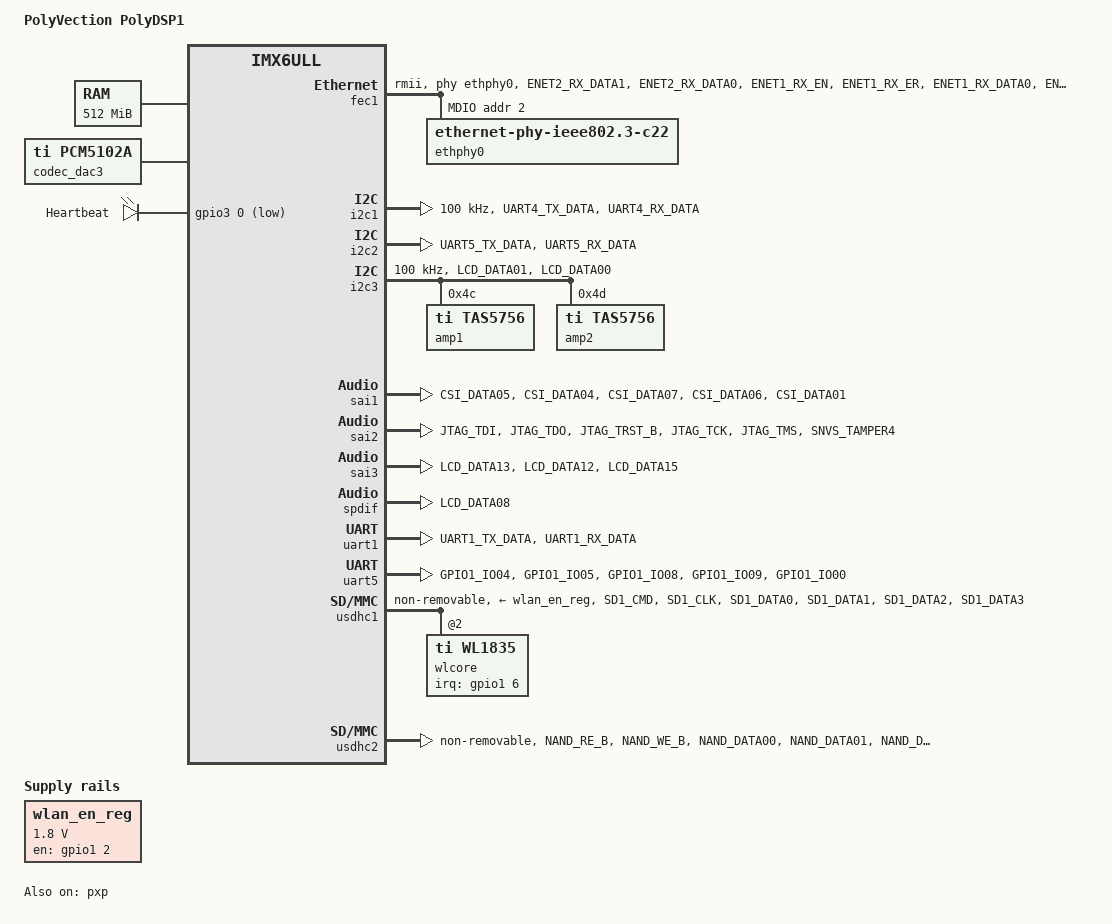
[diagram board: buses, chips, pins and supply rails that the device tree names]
/*
 * Copyright (C) 2016 Freescale Semiconductor, Inc.
 *
 * This program is free software; you can redistribute it and/or modify
 * it under the terms of the GNU General Public License version 2 as
 * published by the Free Software Foundation.
 */

/dts-v1/;

#include <dt-bindings/input/input.h>
#include "imx6ull.dtsi"

/ {
	model = "PolyVection PolyDSP1";
	compatible = "polyvection,polydsp1", "fsl,imx6ull";

	chosen {
		stdout-path = &uart1;
	};

	memory {
		reg = <0x80000000 0x20000000>;
	};

	reserved-memory {
		#address-cells = <1>;
		#size-cells = <1>;
		ranges;

		linux,cma {
			compatible = "shared-dma-pool";
			reusable;
			size = <0x14000000>;
			linux,cma-default;
		};
	};

	regulators {
		compatible = "simple-bus";
		#address-cells = <1>;
		#size-cells = <0>;

		wlan_en_reg: fixedregulator@2 {
			compatible = "regulator-fixed";
			regulator-name = "wlan-en-regulator";	
			regulator-min-microvolt = <1800000>;
			regulator-max-microvolt = <1800000>;
			/* WLAN_EN GPIO for this board - Bank1, pin2 */
			gpio = <&gpio1 2 0>;
			startup-delay-us = <70000>;
			enable-active-high;
		};
	};

	kim {
	        compatible = "kim";
	        nshutdown_gpio = <0>;  // GPIO3_9 The wl8 driver expects gpio to be an integer,b so gpio5_6 is (5-1)*32+6=134
	        dev_name = "/dev/ttymxc4";
	        flow_cntrl = <1>;
	        baud_rate = <115200>;	
	};

	btwilink {
	        compatible = "btwilink";
	
};

	sound-spdif {
		compatible = "fsl,imx-audio-spdif";
		model = "imx-spdif";
		spdif-controller = <&spdif>;
		spdif-in;
	};

/*	codec_dac1: dac-codec1 {
		compatible = "ti,pcm5102a";
		status = "okay";
	};
	
	codec_dac2: dac-codec2 {
		compatible = "ti,pcm5102a";
		status = "okay";
	};
*/

	codec_dac3: dac-codec3 {
		compatible = "ti,pcm5102a";
		status = "okay";
	};

	sound1 {
		compatible = "polyvection,imx-audio-tas5756";
		model = "tas5756";
		cpu-dai = <&sai1>;
		audio-codec = <&amp1>;
		status = "okay";
	};

	sound2 {
		compatible = "polyvection,imx-audio-tas5756";
		model = "tas5756";
		cpu-dai = <&sai2>;
		audio-codec = <&amp2>;
		status = "okay";
	};


/*	sound1 {
		compatible = "polyvection,imx-audio-pcm5102a";
		model = "pcm5102a-audio";
		cpu-dai = <&sai1>;
		audio-codec = <&codec_dac1>;
		status = "okay";
	};

	sound2 {
		compatible = "polyvection,imx-audio-pcm5102a";
		model = "pcm5102a-audio";
		cpu-dai = <&sai2>;
		audio-codec = <&codec_dac2>;
		status = "okay";
	};

	sound3 {
		compatible = "polyvection,imx-audio-pcm5102a";
		model = "pcm5102a-audio";
		cpu-dai = <&sai3>;
		audio-codec = <&codec_dac3>;
		status = "okay";
	};*/
	
	leds {
		compatible = "gpio-leds";

		user_led: user {
			label = "Heartbeat";
			pinctrl-names = "default";
			pinctrl-0 = <&pinctrl_led_blue>;
			gpios = <&gpio3 0 GPIO_ACTIVE_LOW>;
			linux,default-trigger = "heartbeat";
		};
	};
};

&cpu0 {
	arm-supply = <&reg_arm>;
	soc-supply = <&reg_soc>;
};

&clks {
	assigned-clocks = <&clks IMX6UL_CLK_PLL4_AUDIO_DIV>;
	assigned-clock-rates = <786432000>;	
};

&fec1 {
	pinctrl-names = "default";
	pinctrl-0 = <&pinctrl_enet1>;
	phy-mode = "rmii";
	phy-handle = <&ethphy0>;
	status = "okay";

	mdio {
		#address-cells = <1>;
		#size-cells = <0>;

		ethphy0: ethernet-phy@2 {
			compatible = "ethernet-phy-ieee802.3-c22";
			reg = <2>;
		};

	};
};

&gpc {
	fsl,cpu_pupscr_sw2iso = <0x1>;
	fsl,cpu_pupscr_sw = <0x0>;
	fsl,cpu_pdnscr_iso2sw = <0x1>;
	fsl,cpu_pdnscr_iso = <0x1>;
	fsl,ldo-bypass = <0>; /* DCDC, ldo-enable */
};

&i2c1 {
	clock-frequency = <100000>;
	pinctrl-names = "default";
	pinctrl-0 = <&pinctrl_i2c1>;
	status = "okay";
};

&i2c2 {
	clock_frequency = <100000>;
	pinctrl-names = "default";
	pinctrl-0 = <&pinctrl_i2c2>;
	status = "okay";
};

&i2c3 {
	clock-frequency = <100000>;
	pinctrl-names = "default";
	pinctrl-0 = <&pinctrl_i2c3>;
	status = "okay";

	amp1: tas5756@4c {
		#sound-dai-cells = <0>;
		compatible = "ti,tas5756";
		reg = <0x4c>;
		clocks = <&clks IMX6UL_CLK_SAI1>;
		status = "okay";
	};

	amp2: tas5756@4d {
		#sound-dai-cells = <0>;
		compatible = "ti,tas5756";
		reg = <0x4d>;
		clocks = <&clks IMX6UL_CLK_SAI2>;
		status = "okay";
	};

};

&pxp {
	status = "okay";
};

&sai1 {
	pinctrl-names = "default";
	pinctrl-0 = <&pinctrl_sai1>;

	assigned-clocks = <&clks IMX6UL_CLK_SAI1_SEL>,
			  <&clks IMX6UL_CLK_SAI1>;
	assigned-clock-parents = <&clks IMX6UL_CLK_PLL4_AUDIO_DIV>;
	assigned-clock-rates = <0>, <12288000>;
	status = "okay";
};

&sai2 {
	pinctrl-names = "default";
	pinctrl-0 = <&pinctrl_sai2>;

	assigned-clocks = <&clks IMX6UL_CLK_SAI2_SEL>,
			  <&clks IMX6UL_CLK_SAI2>;
	assigned-clock-parents = <&clks IMX6UL_CLK_PLL4_AUDIO_DIV>;
	assigned-clock-rates = <0>, <12288000>;

	status = "okay";
};


&sai3 {
	pinctrl-names = "default";
	pinctrl-0 = <&pinctrl_sai3>;

	assigned-clocks = <&clks IMX6UL_CLK_SAI3_SEL>,
			  <&clks IMX6UL_CLK_SAI3>;
	assigned-clock-parents = <&clks IMX6UL_CLK_PLL4_AUDIO_DIV>;
	assigned-clock-rates = <0>, <12288000>;

	status = "okay";
};


&spdif {
	pinctrl-names = "default";
	pinctrl-0 = <&pinctrl_spdif_in>;
	status = "okay";
};

&uart1 {
	pinctrl-names = "default";
	pinctrl-0 = <&pinctrl_uart1>;
	status = "okay";
};

&uart5 {
	
	pinctrl-names = "default";
	pinctrl-0 = <&pinctrl_uart5>;
	status = "okay";
	fsl,uart-has-rtscts;      // enable rts/cts usage on uart4
};

&usdhc1 {
	pinctrl-names = "default";
	pinctrl-0 = <&pinctrl_usdhc1>;
	keep-power-in-suspend;	
 	enable-sdio-wakeup;
	vmmc-supply = <&wlan_en_reg>;
	non-removable;
	cap-power-off-card;
	status = "okay";

	#address-cells = <1>;
	#size-cells = <0>;
	wlcore: wlcore@0 {
		compatible = "ti,wl1835";
		reg = <2>;
		interrupt-parent = <&gpio1>;
		interrupts = <6 IRQ_TYPE_EDGE_RISING>;
	};
};

&usdhc2 {
	pinctrl-names = "default";
	pinctrl-0 = <&pinctrl_usdhc2>;
	non-removable;
	status = "okay";
};

&iomuxc {
	pinctrl-names = "default";
	pinctrl-0 = <&pinctrl_hog_1>;
	imx6ul-evk {

		pinctrl_hog_1: hoggrp-1 {
			fsl,pins = <
				MX6UL_PAD_SNVS_TAMPER0__GPIO5_IO00	0x80000000
				MX6UL_PAD_GPIO1_IO03__REF_CLK_32K 	0x10059
			>;
		};
		
		pinctrl_led_blue: ledbluegrp {
			fsl,pins = <
				MX6UL_PAD_LCD_CLK__GPIO3_IO00        0x1b0b0
			>;
		};

		pinctrl_enet1: enet1grp {
			fsl,pins = <
				MX6UL_PAD_ENET2_RX_DATA1__ENET1_MDC	0x1b0b0
				MX6UL_PAD_ENET2_RX_DATA0__ENET1_MDIO	0x1b0b0
				MX6UL_PAD_ENET1_RX_EN__ENET1_RX_EN	0x1b0b0
				MX6UL_PAD_ENET1_RX_ER__ENET1_RX_ER	0x1b0b0
				MX6UL_PAD_ENET1_RX_DATA0__ENET1_RDATA00	0x1b0b0
				MX6UL_PAD_ENET1_RX_DATA1__ENET1_RDATA01	0x1b0b0
				MX6UL_PAD_ENET1_TX_EN__ENET1_TX_EN	0x1b0b0
				MX6UL_PAD_ENET1_TX_DATA0__ENET1_TDATA00	0x1b0b0
				MX6UL_PAD_ENET1_TX_DATA1__ENET1_TDATA01	0x1b0b0
				MX6UL_PAD_ENET1_TX_CLK__ENET1_REF_CLK1	0x4001b031
			>;
		};

		pinctrl_i2c1: i2c1grp {
			fsl,pins = <
				MX6UL_PAD_UART4_TX_DATA__I2C1_SCL 0x4001b8b0
				MX6UL_PAD_UART4_RX_DATA__I2C1_SDA 0x4001b8b0
			>;
		};

		pinctrl_i2c2: i2c2grp {
			fsl,pins = <
				MX6UL_PAD_UART5_TX_DATA__I2C2_SCL 0x4001b8b0
				MX6UL_PAD_UART5_RX_DATA__I2C2_SDA 0x4001b8b0
			>;
		};

		pinctrl_i2c3: i2c3grp {
			fsl,pins = <
				MX6UL_PAD_LCD_DATA01__I2C3_SCL 	0x4001f8b0
				MX6UL_PAD_LCD_DATA00__I2C3_SDA  0x4001f8b0
			>;
		};

		pinctrl_sai1: sai1grp {
			fsl,pins = <
				MX6UL_PAD_CSI_DATA05__SAI1_TX_BCLK	0x11088
				MX6UL_PAD_CSI_DATA04__SAI1_TX_SYNC	0x11088
				MX6UL_PAD_CSI_DATA07__SAI1_TX_DATA	0x11088
				MX6UL_PAD_CSI_DATA06__SAI1_RX_DATA	0x11088
				MX6UL_PAD_CSI_DATA01__SAI1_MCLK		0x11088
			>;
		};

		pinctrl_sai2: sai2grp {
			fsl,pins = <
				MX6UL_PAD_JTAG_TDI__SAI2_TX_BCLK	0x17088
				MX6UL_PAD_JTAG_TDO__SAI2_TX_SYNC	0x17088
				MX6UL_PAD_JTAG_TRST_B__SAI2_TX_DATA	0x11088
				MX6UL_PAD_JTAG_TCK__SAI2_RX_DATA	0x11088
				MX6UL_PAD_JTAG_TMS__SAI2_MCLK		0x17088
				MX6UL_PAD_SNVS_TAMPER4__GPIO5_IO04	0x17059
			>;
		};

		pinctrl_sai3: sai3grp {
			fsl,pins = <
				MX6UL_PAD_LCD_DATA13__SAI3_TX_BCLK	0x17088
				MX6UL_PAD_LCD_DATA12__SAI3_TX_SYNC	0x17088
				MX6UL_PAD_LCD_DATA15__SAI3_TX_DATA	0x11088
			>;
		};
		
		pinctrl_spdif_in: spdifgrp-in {
			fsl,pins = <
				MX6UL_PAD_LCD_DATA08__SPDIF_IN     	0x1b0b0
			>;
		};

		pinctrl_uart1: uart1grp {
			fsl,pins = <
				MX6UL_PAD_UART1_TX_DATA__UART1_DCE_TX 0x1b0b1
				MX6UL_PAD_UART1_RX_DATA__UART1_DCE_RX 0x1b0b1
			>;
		};

		pinctrl_uart5: uart5grp {
			fsl,pins = <
				MX6UL_PAD_GPIO1_IO04__UART5_DCE_TX	0x1b0b1
				MX6UL_PAD_GPIO1_IO05__UART5_DCE_RX	0x1b0b1
				MX6UL_PAD_GPIO1_IO08__UART5_DCE_RTS	0x1b0b1
				MX6UL_PAD_GPIO1_IO09__UART5_DCE_CTS	0x1b0b1
				MX6UL_PAD_GPIO1_IO00__GPIO1_IO00	0x13059 /*BT-EN*/
			>;
		};

		pinctrl_usdhc1: usdhc1grp {
			fsl,pins = <
				MX6UL_PAD_SD1_CMD__USDHC1_CMD     0x17059
				MX6UL_PAD_SD1_CLK__USDHC1_CLK     0x10071
				MX6UL_PAD_SD1_DATA0__USDHC1_DATA0 0x17059
				MX6UL_PAD_SD1_DATA1__USDHC1_DATA1 0x17059
				MX6UL_PAD_SD1_DATA2__USDHC1_DATA2 0x17059
				MX6UL_PAD_SD1_DATA3__USDHC1_DATA3 0x17059
			>;
		};

		pinctrl_usdhc1_100mhz: usdhc1grp100mhz {
			fsl,pins = <
				MX6UL_PAD_SD1_CMD__USDHC1_CMD     0x170b9
				MX6UL_PAD_SD1_CLK__USDHC1_CLK     0x100b9
				MX6UL_PAD_SD1_DATA0__USDHC1_DATA0 0x170b9
				MX6UL_PAD_SD1_DATA1__USDHC1_DATA1 0x170b9
				MX6UL_PAD_SD1_DATA2__USDHC1_DATA2 0x170b9
				MX6UL_PAD_SD1_DATA3__USDHC1_DATA3 0x170b9
			>;
		};

		pinctrl_usdhc1_200mhz: usdhc1grp200mhz {
			fsl,pins = <
				MX6UL_PAD_SD1_CMD__USDHC1_CMD     0x170f9
				MX6UL_PAD_SD1_CLK__USDHC1_CLK     0x100f9
				MX6UL_PAD_SD1_DATA0__USDHC1_DATA0 0x170f9
				MX6UL_PAD_SD1_DATA1__USDHC1_DATA1 0x170f9
				MX6UL_PAD_SD1_DATA2__USDHC1_DATA2 0x170f9
				MX6UL_PAD_SD1_DATA3__USDHC1_DATA3 0x170f9
			>;
		};

		pinctrl_usdhc2: usdhc2grp {
			fsl,pins = <
				MX6UL_PAD_NAND_RE_B__USDHC2_CLK     0x10069
				MX6UL_PAD_NAND_WE_B__USDHC2_CMD     0x17059
				MX6UL_PAD_NAND_DATA00__USDHC2_DATA0 0x17059
				MX6UL_PAD_NAND_DATA01__USDHC2_DATA1 0x17059
				MX6UL_PAD_NAND_DATA02__USDHC2_DATA2 0x17059
				MX6UL_PAD_NAND_DATA03__USDHC2_DATA3 0x17059
			>;
		};
	};
};


